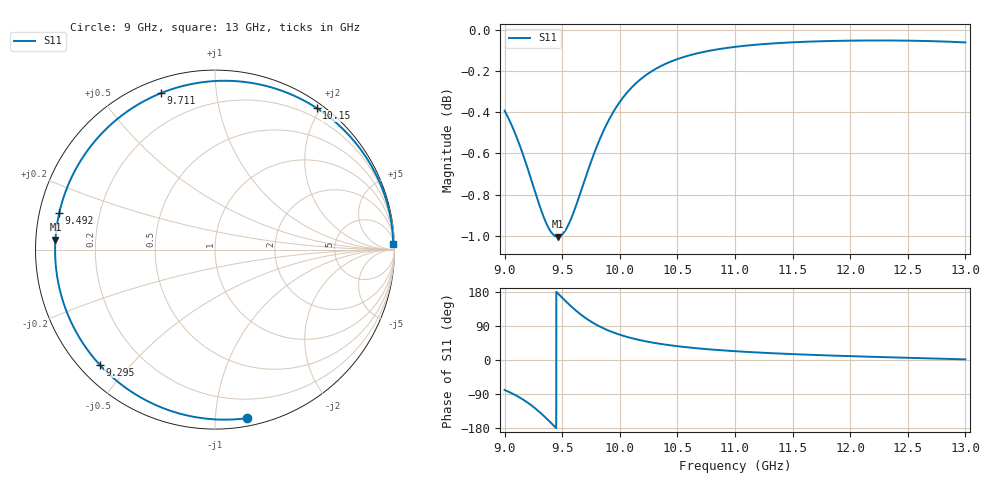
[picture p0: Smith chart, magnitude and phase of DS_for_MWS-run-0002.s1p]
! TOUCHSTONE file generated by CST DESIGN STUDIO
! Date and time: Tue Feb  4 17:16:50 2025
! Project name: C:\Work\MatlabApps\UnitCellOptimizationMatlab\CST\unitcell.cst
! Tree item: Tasks\Sweep1\SPara1\S-Parameters
! Header version: 2024
! Port assignment regex: !\s*Touchstone port\s*([0-9]+)\s*=\s*(CST MWS port|CST DES external port|CST DES block port)\s*(.+)\s* \(\"(.*)\"\)(\s*mode\s*([0-9]+))?.*
! Touchstone port assignment:
! Touchstone port 1 = CST DES external port 1 ("")
# GHz S MA R 50
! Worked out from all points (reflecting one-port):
!   4001 points, 9 GHz to 13 GHz, reference 50 ohm
!   lowest |S11| = -1.0 dB at 9.46 GHz (marker M1), VSWR 17.31, Z = 2.89 + j1.53 ohm
!   phase of S11 starts at -79 deg and turns -279 deg over the sweep
!   S11 on the Smith chart (normalised r, x): 9 GHz: 0.06, -1.21; 9.295 GHz: 0.06, -0.41; 9.492 GHz: 0.06, +0.12; 9.711 GHz: 0.06, +0.71; 10.15 GHz: 0.07, +1.95; 13 GHz: 16, +65
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9  0.9559 -79.2
9.091  0.9438 -92.2
9.165  0.9318 -105.4
9.232  0.9195 -119.6
9.295  0.9079 -135.1
9.337  0.901 -146.6
9.383  0.895 -160.0
9.422  0.8918 -171.8
9.46  0.8908 176.5
9.492  0.8915 166.6
9.5  0.8919 164.2
9.549  0.8962 149.6
9.607  0.9043 133.6
9.658  0.9129 120.9
9.711  0.9222 109.1
9.767  0.9317 98.2
9.831  0.9414 87.6
9.913  0.9519 76.3
10  0.9606 66.7
10.148  0.9711 54.3
10.307  0.9783 44.8
10.5  0.9839 36.4
10.723  0.9878 29.5
11  0.9906 23.2
11.5  0.9932 15.5
12  0.9941 10.1
12.5  0.9941 5.8
13  0.9931 1.7
